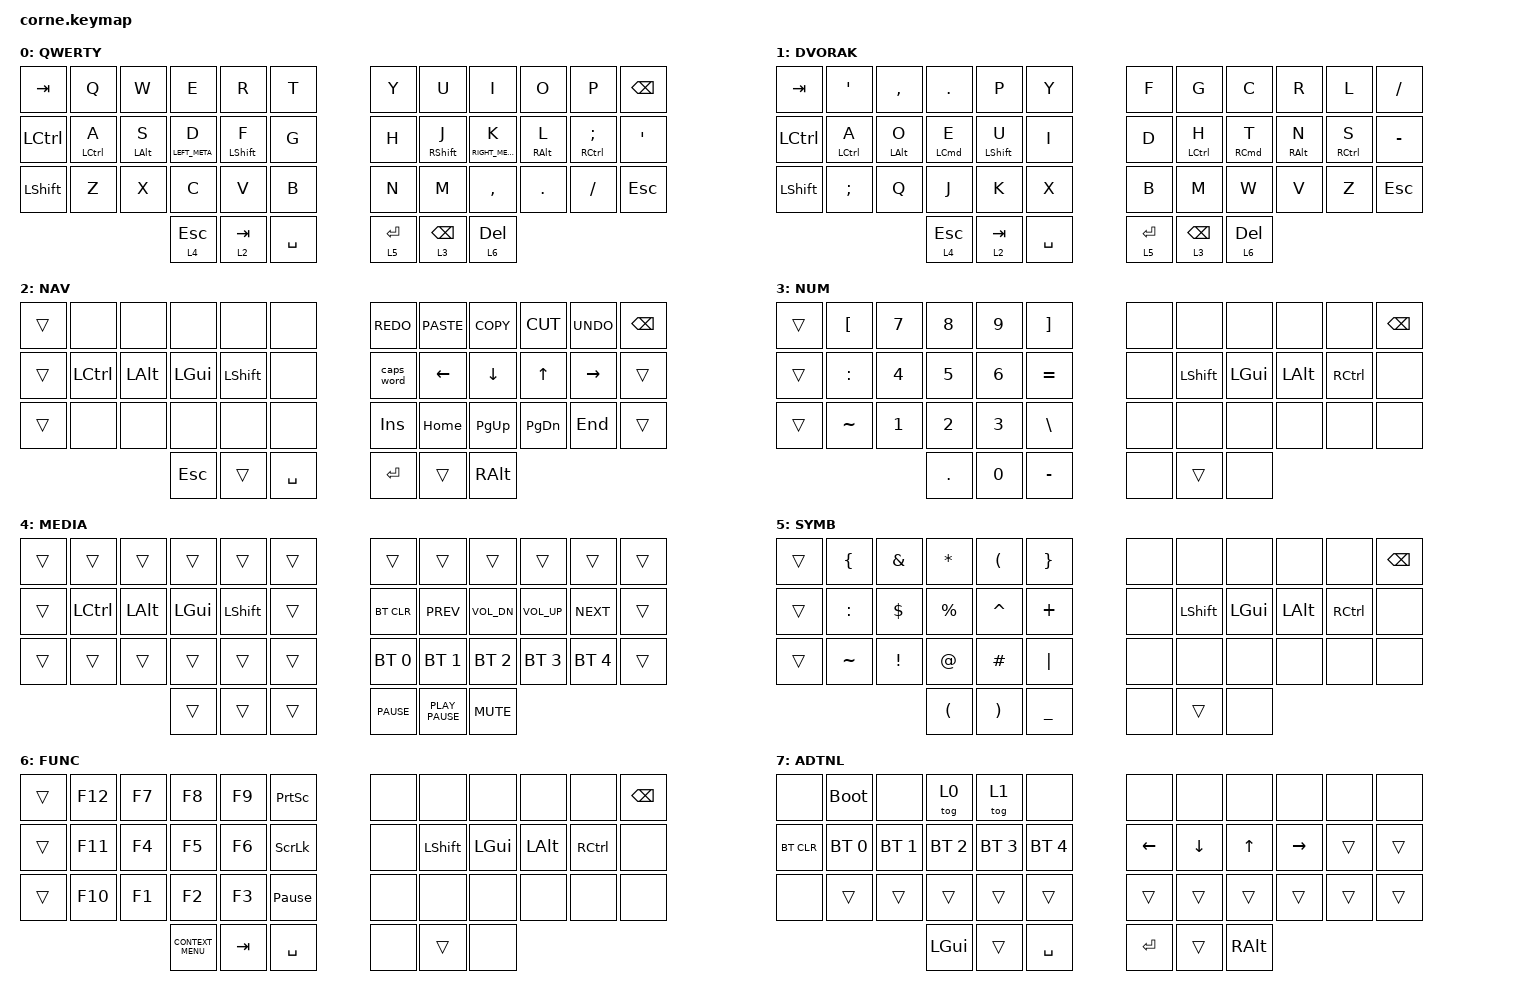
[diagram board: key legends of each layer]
/*
 * Copyright (c) 2020 The ZMK Contributors
 *
 * SPDX-License-Identifier: MIT
 */

#include <behaviors.dtsi>
#include <dt-bindings/zmk/bt.h>
#include <dt-bindings/zmk/keys.h>

&mt { flavor = "tap-preferred"; };

&lt { flavor = "tap-preferred"; };

/ {
    conditional_layers {
        compatible = "zmk,conditional-layers";

        tri_layer {
            if-layers = <2 3>;
            then-layer = <7>;
        };
    };
};

/ {
    keymap {
        compatible = "zmk,keymap";

        default_layer {
            bindings = <
&kp TAB    &kp Q               &kp W           &kp E            &kp R             &kp T        &kp Y        &kp U              &kp I             &kp O            &kp P                   &kp BACKSPACE
&kp LCTRL  &mt LEFT_CONTROL A  &mt LEFT_ALT S  &mt LEFT_META D  &mt LEFT_SHIFT F  &kp G        &kp H        &mt RIGHT_SHIFT J  &mt RIGHT_META K  &mt RIGHT_ALT L  &mt RIGHT_CONTROL SEMI  &kp SINGLE_QUOTE
&kp LSHFT  &kp Z               &kp X           &kp C            &kp V             &kp B        &kp N        &kp M              &kp COMMA         &kp DOT          &kp FSLH                &kp ESC
                                               &lt 4 ESCAPE     &lt 2 TAB         &kp SPACE    &lt 5 ENTER  &lt 3 BACKSPACE    &lt 6 DEL
            >;

            label = "QWERTY";
        };

        DVORAK {
            label = "DVORAK";
            bindings = <
&kp TAB    &kp APOS            &kp COMMA       &kp DOT             &kp P             &kp Y        &kp F        &kp G               &kp C                &kp R            &kp L                &kp FSLH
&kp LCTRL  &mt LEFT_CONTROL A  &mt LEFT_ALT O  &mt LEFT_COMMAND E  &mt LEFT_SHIFT U  &kp I        &kp D        &mt LEFT_CONTROL H  &mt RIGHT_COMMAND T  &mt RIGHT_ALT N  &mt RIGHT_CONTROL S  &kp MINUS
&kp LSHFT  &kp SEMI            &kp Q           &kp J               &kp K             &kp X        &kp B        &kp M               &kp W                &kp V            &kp Z                &kp ESC
                                               &lt 4 ESCAPE        &lt 2 TAB         &kp SPACE    &lt 5 ENTER  &lt 3 BACKSPACE     &lt 6 DEL
            >;
        };

        nav_layer {
            bindings = <
&trans  &none             &none         &none       &none           &none        &kp K_REDO  &kp K_PASTE  &kp K_COPY   &kp K_CUT      &kp K_UNDO  &kp BSPC
&trans  &kp LEFT_CONTROL  &kp LEFT_ALT  &kp LGUI    &kp LEFT_SHIFT  &none        &caps_word  &kp LEFT     &kp DOWN     &kp UP_ARROW   &kp RIGHT   &trans
&trans  &none             &none         &none       &none           &none        &kp INSERT  &kp HOME     &kp PAGE_UP  &kp PAGE_DOWN  &kp END     &trans
                                        &kp ESCAPE  &trans          &kp SPACE    &kp RET     &trans       &kp RALT
            >;

            label = "NAV";
        };

        num_layer {
            bindings = <
&trans  &kp LEFT_BRACKET  &kp NUMBER_7  &kp NUMBER_8  &kp NUMBER_9  &kp RIGHT_BRACKET    &none  &none           &none         &none         &none      &kp BSPC
&trans  &kp COLON         &kp NUMBER_4  &kp NUMBER_5  &kp NUMBER_6  &kp EQUAL            &none  &kp LEFT_SHIFT  &kp LEFT_GUI  &kp LEFT_ALT  &kp RCTRL  &none
&trans  &kp TILDE         &kp NUMBER_1  &kp NUMBER_2  &kp NUMBER_3  &kp BACKSLASH        &none  &none           &none         &none         &none      &none
                                        &kp PERIOD    &kp NUMBER_0  &kp MINUS            &none  &trans          &none
            >;

            label = "NUM";
        };

        media_layer {
            bindings = <
&trans  &trans     &trans        &trans        &trans          &trans    &trans        &trans            &trans        &trans           &trans        &trans
&trans  &kp LCTRL  &kp LEFT_ALT  &kp LEFT_GUI  &kp LEFT_SHIFT  &trans    &bt BT_CLR    &kp K_PREV        &kp C_VOL_DN  &kp C_VOLUME_UP  &kp K_NEXT    &trans
&trans  &trans     &trans        &trans        &trans          &trans    &bt BT_SEL 0  &bt BT_SEL 1      &bt BT_SEL 2  &bt BT_SEL 3     &bt BT_SEL 4  &trans
                                 &trans        &trans          &trans    &kp C_PAUSE   &kp K_PLAY_PAUSE  &kp K_MUTE
            >;

            label = "MEDIA";
        };

        symb_layer {
            bindings = <
&trans  &kp LEFT_BRACE  &kp AMPERSAND  &kp ASTRK             &kp LEFT_PARENTHESIS   &kp RIGHT_BRACE    &none  &none           &none         &none         &none      &kp BSPC
&trans  &kp COLON       &kp DOLLAR     &kp PERCENT           &kp CARET              &kp PLUS           &none  &kp LEFT_SHIFT  &kp LEFT_GUI  &kp LEFT_ALT  &kp RCTRL  &none
&trans  &kp TILDE       &kp EXCL       &kp AT                &kp POUND              &kp PIPE           &none  &none           &none         &none         &none      &none
                                       &kp LEFT_PARENTHESIS  &kp RIGHT_PARENTHESIS  &kp UNDER          &none  &trans          &none
            >;

            label = "SYMB";
        };

        func_layer {
            bindings = <
&trans  &kp F12  &kp F7  &kp F8              &kp F9   &kp PRINTSCREEN    &none  &none           &none         &none         &none      &kp BSPC
&trans  &kp F11  &kp F4  &kp F5              &kp F6   &kp SCROLLLOCK     &none  &kp LEFT_SHIFT  &kp LEFT_GUI  &kp LEFT_ALT  &kp RCTRL  &none
&trans  &kp F10  &kp F1  &kp F2              &kp F3   &kp PAUSE_BREAK    &none  &none           &none         &none         &none      &none
                         &kp K_CONTEXT_MENU  &kp TAB  &kp SPACE          &none  &trans          &none
            >;

            label = "FUNC";
        };

        additional {
            bindings = <
&none       &bootloader   &none         &tog 0        &tog 1        &none           &none     &none     &none     &none      &none   &none
&bt BT_CLR  &bt BT_SEL 0  &bt BT_SEL 1  &bt BT_SEL 2  &bt BT_SEL 3  &bt BT_SEL 4    &kp LEFT  &kp DOWN  &kp UP    &kp RIGHT  &trans  &trans
&none       &trans        &trans        &trans        &trans        &trans          &trans    &trans    &trans    &trans     &trans  &trans
                                        &kp LGUI      &trans        &kp SPACE       &kp RET   &trans    &kp RALT
            >;

            label = "ADTNL";
        };
    };
};
